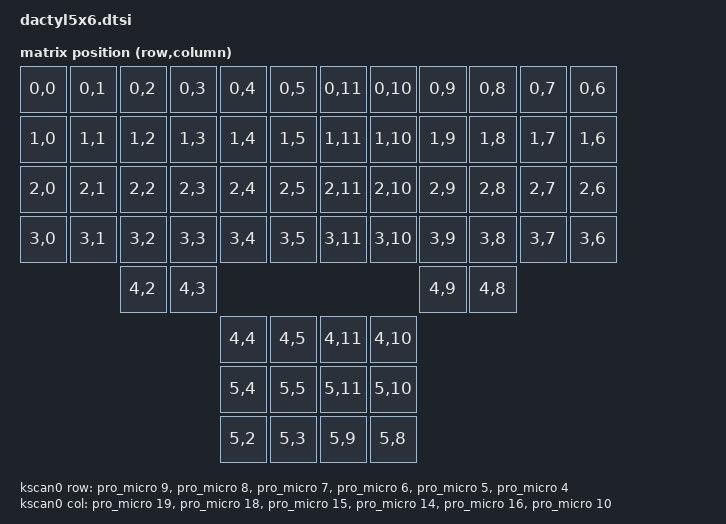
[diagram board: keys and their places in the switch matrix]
#include <dt-bindings/zmk/matrix_transform.h>
#include "dactyl5x6-layouts.dtsi"
#include <dt-bindings/led/led.h>

/ {
	kscan0: kscan0 {
		compatible = "zmk,kscan-gpio-matrix";
		diode-direction = "col2row";
		wakeup-source;

		row-gpios
			= <&pro_micro 9 (GPIO_ACTIVE_HIGH | GPIO_PULL_DOWN)>
			, <&pro_micro 8 (GPIO_ACTIVE_HIGH | GPIO_PULL_DOWN)>
			, <&pro_micro 7 (GPIO_ACTIVE_HIGH | GPIO_PULL_DOWN)>
			, <&pro_micro 6 (GPIO_ACTIVE_HIGH | GPIO_PULL_DOWN)>
			, <&pro_micro 5 (GPIO_ACTIVE_HIGH | GPIO_PULL_DOWN)>
			, <&pro_micro 4 (GPIO_ACTIVE_HIGH | GPIO_PULL_DOWN)>
			;

		col-gpios
			= <&pro_micro 19 GPIO_ACTIVE_HIGH>
			, <&pro_micro 18 GPIO_ACTIVE_HIGH>
			, <&pro_micro 15 GPIO_ACTIVE_HIGH>
			, <&pro_micro 14 GPIO_ACTIVE_HIGH>
			, <&pro_micro 16 GPIO_ACTIVE_HIGH>
			, <&pro_micro 10 GPIO_ACTIVE_HIGH>
			;
	};
};

/ {
	default_transform: keymap_transform0 {
		compatible = "zmk,matrix-transform";
		columns = <12>;
		rows = <6>;
		map = <
			RC(0,0) RC(0,1) RC(0,2) RC(0,3) RC(0,4) RC(0,5)     RC(0,11) RC(0,10) RC(0,9) RC(0,8) RC(0,7) RC(0,6)
			RC(1,0) RC(1,1) RC(1,2) RC(1,3) RC(1,4) RC(1,5)     RC(1,11) RC(1,10) RC(1,9) RC(1,8) RC(1,7) RC(1,6)
			RC(2,0) RC(2,1) RC(2,2) RC(2,3) RC(2,4) RC(2,5)     RC(2,11) RC(2,10) RC(2,9) RC(2,8) RC(2,7) RC(2,6)
			RC(3,0) RC(3,1) RC(3,2) RC(3,3) RC(3,4) RC(3,5)     RC(3,11) RC(3,10) RC(3,9) RC(3,8) RC(3,7) RC(3,6)
							RC(4,2) RC(4,3)                                       RC(4,9) RC(4,8)
											RC(4,4) RC(4,5)     RC(4,11) RC(4,10)
											RC(5,4) RC(5,5)     RC(5,11) RC(5,10)
											RC(5,2) RC(5,3)     RC(5,9)  RC(5,8)

		>;
	};
};

&physical_layout0 {
	transform = <&default_transform>;
};

&pinctrl {
    spi3_default: spi3_default {
        group1 {
            psels = <NRF_PSEL(SPIM_MOSI, 0, 6)>;
        };
    };

    spi3_sleep: spi3_sleep {
        group1 {
            psels = <NRF_PSEL(SPIM_MOSI, 0, 6)>;
            low-power-enable;
        };
    };
};

&spi3 {
    compatible = "nordic,nrf-spim";
    status = "okay";

    pinctrl-0 = <&spi3_default>;
    pinctrl-1 = <&spi3_sleep>;
    pinctrl-names = "default", "sleep";

    led_strip: ws2812@0 {
        compatible = "worldsemi,ws2812-spi";

        /* SPI */
        reg = <0>; /* ignored, but necessary for SPI bindings */
        spi-max-frequency = <4000000>;

        /* WS2812 */
        chain-length = <32>; /* number of LEDs */
        spi-one-frame = <0x70>;
        spi-zero-frame = <0x40>;
        color-mapping = <LED_COLOR_ID_GREEN
                         LED_COLOR_ID_RED
                         LED_COLOR_ID_BLUE>;
    };
};

/ {
	chosen {
		zmk,physical-layout = &physical_layout0;
		zmk,kscan = &kscan0;
		zmk,underglow = &led_strip;
	};
};


